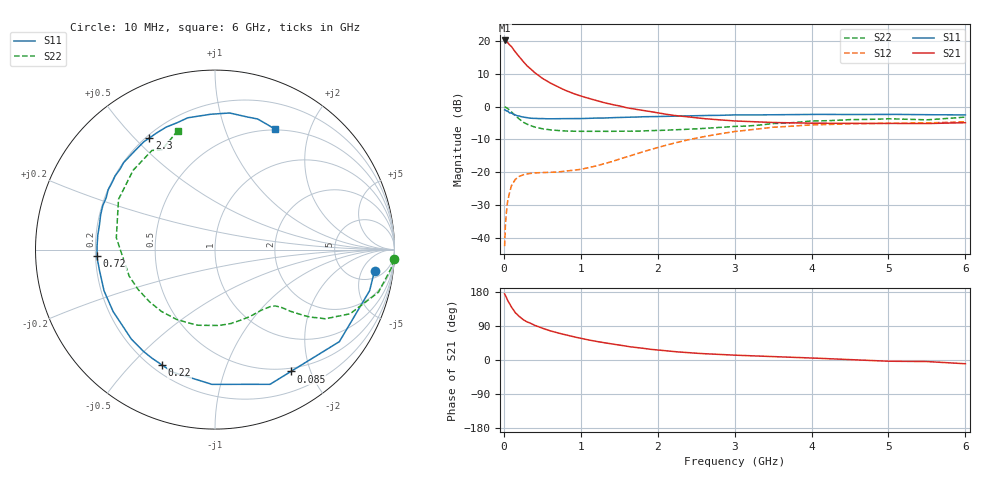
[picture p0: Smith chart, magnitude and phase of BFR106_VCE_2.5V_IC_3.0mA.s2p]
! Infineon Technologies  Discrete & RF Semiconductors
! BFR106
! VCE =  2.5 V,  IC =  3.0 mA
! Common Emitter S-Parameters:  Nov 2015
# GHz  S  MA  R  50
!  f  S11  S21  S12  S22
! GHz  MAG  ANG  MAG  ANG  MAG  ANG  MAG  ANG
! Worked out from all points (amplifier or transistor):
!   210 points, 10 MHz to 6 GHz, reference 50 ohm
!   highest |S21| = 20.2 dB at 10 MHz (marker M1)
!   |S21| within 3 dB of that: start of sweep to 133.1 MHz
!   unconditionally stable (mu >= 1): 708.2 MHz to 2.114 GHz; 3.782 GHz to end of sweep
!   at 185 MHz: K = 0.29, MSG = 18.6 dB, |S12| = -21.6 dB
!   at 1.52 GHz: K = 1.18, MAG = 5.4 dB, |S12| = -15.9 dB
!   at 6 GHz: K = 1.02, MAG = -1.1 dB, |S12| = -4.6 dB
!   S11 on the Smith chart (normalised r, x): 10 MHz: 7, -9; 85 MHz: 0.45, -1.71; 220 MHz: 0.24, -0.62; 720 MHz: 0.21, -0.03; 2.3 GHz: 0.21, +0.55; 6 GHz: 0.49, +1.50
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0.01  0.8967 -7.6  10.29 174.6  0.0074 85.8  0.9962 -3.1
0.02  0.8913 -14.9  10.19 170.6  0.0149 82.1  0.9864 -6.2
0.05  0.862 -36.5  9.546 156.7  0.0362 71.1  0.9411 -14.6
0.085  0.7999 -58.1  8.575 144.8  0.0542 59.2  0.8624 -21.9
0.1  0.8108 -67.8  8.289 139.0  0.0624 56.2  0.8335 -25.4
0.15  0.751 -91.3  6.854 124.5  0.0776 45.1  0.7256 -32.1
0.2  0.7224 -109.2  5.804 114.8  0.0862 39.0  0.646 -35.5
0.22  0.7075 -114.6  5.44 111.8  0.0881 37.1  0.6201 -36.4
0.26  0.693 -125.1  4.786 105.5  0.0917 34.0  0.5736 -38.1
0.3  0.6824 -133.1  4.238 100.8  0.094 32.3  0.5421 -39.3
0.4  0.6643 -148.7  3.328 91.5  0.0975 29.6  0.489 -41.1
0.5  0.6595 -159.6  2.719 83.7  0.0983 29.4  0.4591 -43.1
0.6  0.654 -168.4  2.315 77.1  0.0999 31.0  0.443 -45.8
0.72  0.6575 -176.8  1.966 70.5  0.1012 34.0  0.4317 -49.6
1.02  0.6598 166.7  1.434 56.3  0.1117 44.6  0.4204 -60.6
1.4  0.6818 150.9  1.081 42.5  0.1445 56.9  0.4214 -77.8
2.02  0.7087 129.2  0.798 25.8  0.2415 60.3  0.4341 -109.6
2.3  0.7218 120.4  0.719 20.8  0.2939 57.3  0.4475 -125.0
3.1  0.749 99.7  0.599 12.1  0.4298 42.0  0.5035 -167.9
4.1  0.7636 82.6  0.559 4.5  0.531 21.2  0.6077 149.1
5.1  0.763 70.9  0.555 -3.4  0.5606 5.4  0.6496 121.6
6  0.7496 63.5  0.57 -9.9  0.589 -5.2  0.6949 107.3
